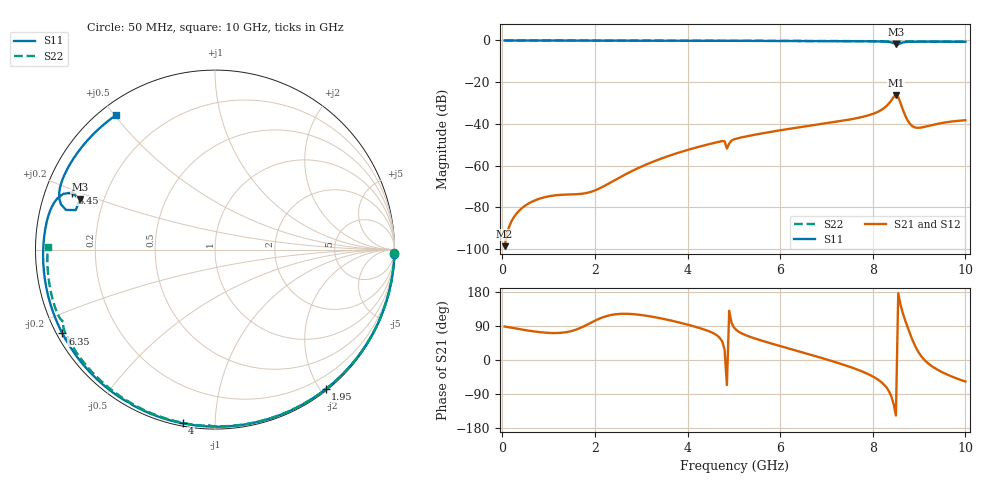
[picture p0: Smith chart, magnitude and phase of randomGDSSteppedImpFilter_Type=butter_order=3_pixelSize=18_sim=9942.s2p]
! freq	dB(S11)	phase(S11)	dB(S12)	phase(S12)
!  dB(S21)	phase(S21)	dB(S22)	phase(S22)
!S-par simulation data
#  GHz  S  DB  R 50
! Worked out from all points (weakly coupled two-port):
!   200 points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, 50 MHz to 10 GHz, reference 50 ohm
!   highest |S21| = -26.11 dB at 8.5 GHz (marker M1); lowest = -98.6 dB at 50 MHz (marker M2)
!   lowest |S11| = -1.9 dB at 8.5 GHz (marker M3), VSWR 9.17, Z = 5.63 + j8.87 ohm
!   |S11| at or under -10 dB: nowhere
!   |S22| runs from -0.6 to 0.0 dB; largest |S21 - S12| = 0
!   S11 on the Smith chart (normalised r, x): 50 MHz: 0, -84; 1.95 GHz: 0.02, -2.07; 4 GHz: 0.01, -0.83; 6.35 GHz: 0.02, -0.26; 8.45 GHz: 0.08, +0.19; 10 GHz: 0.05, +0.50
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0.05  -0.00 -1.4  -98.59 88.3  -98.59 88.3  -0.00 -1.0
0.45  -0.02 -12.2  -79.91 79.8  -79.91 79.8  -0.01 -9.1
1.05  -0.04 -28.2  -74.51 71.3  -74.51 71.3  -0.03 -21.2
1.75  -0.06 -46.5  -73.38 88.2  -73.38 88.2  -0.04 -35.0
1.95  -0.06 -51.6  -72.29 100.7  -72.29 100.7  -0.05 -38.9
3.4  -0.11 -86.8  -56.88 110.5  -56.88 110.5  -0.09 -66.4
4  -0.13 -100.6  -52.48 93.4  -52.48 93.4  -0.11 -77.3
4.75  -0.17 -117.2  -48.24 48.6  -48.24 48.6  -0.14 -90.7
4.8  -0.18 -118.3  -48.31 27.2  -48.31 27.2  -0.16 -91.7
4.85  -0.20 -119.3  -51.80 -66.1  -51.80 -66.1  -0.23 -92.4
4.95  -0.18 -121.4  -47.98 98.1  -47.98 98.1  -0.15 -93.8
5.05  -0.18 -123.6  -47.10 79.7  -47.10 79.7  -0.15 -95.6
6.35  -0.26 -151.2  -41.84 24.6  -41.84 24.6  -0.22 -117.7
6.7  -0.29 -158.6  -40.68 12.4  -40.68 12.4  -0.24 -123.6
7.9  -0.41 174.7  -35.92 -37.3  -35.92 -37.3  -0.34 -143.7
8.35  -0.70 161.8  -30.19 -82.7  -30.19 -82.7  -0.42 -151.8
8.45  -1.31 158.3  -27.13 -115.9  -27.13 -115.9  -0.51 -153.7
8.5  -1.90 159.6  -26.11 -146.5  -26.11 -146.5  -0.58 -154.3
8.6  -1.32 165.1  -30.05 145.8  -30.05 145.8  -0.54 -155.0
8.75  -0.69 160.0  -38.22 87.3  -38.22 87.3  -0.47 -157.7
8.9  -0.58 155.4  -41.60 41.0  -41.60 41.0  -0.47 -160.5
10  -0.63 126.4  -38.23 -56.7  -38.23 -56.7  -0.62 178.9
